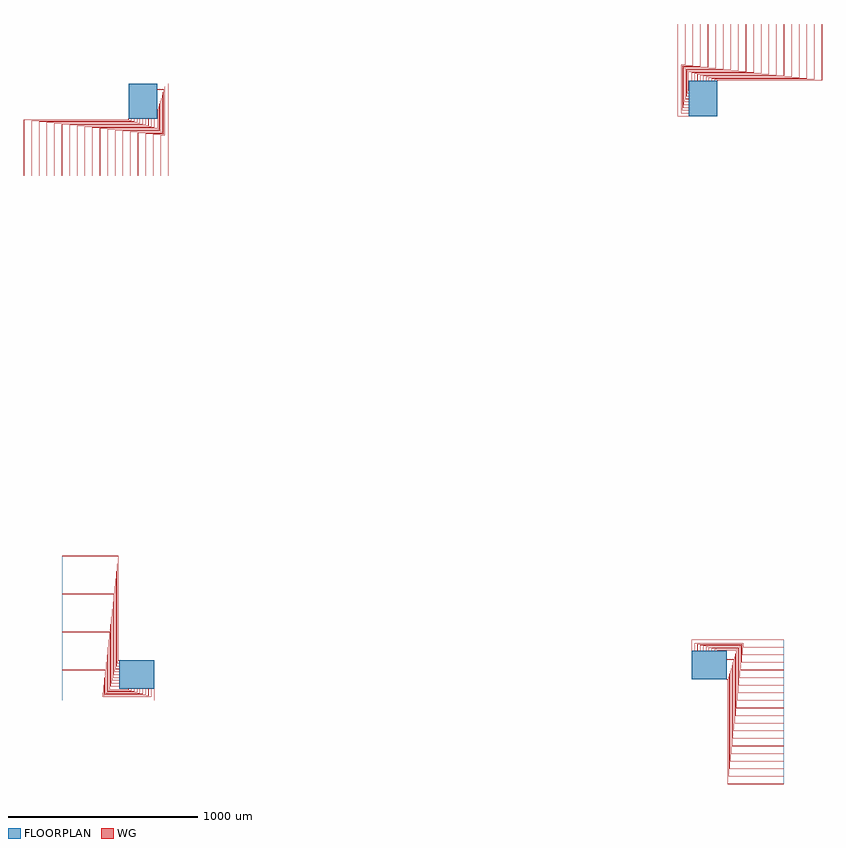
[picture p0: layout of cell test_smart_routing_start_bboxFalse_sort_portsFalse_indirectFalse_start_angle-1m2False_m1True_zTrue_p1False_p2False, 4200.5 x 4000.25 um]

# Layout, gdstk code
import gdstk
lib = gdstk.Library(unit=1e-6, precision=1e-09)
def R(c, l, rs):  # rectangles x0, y0, x1, y1
    for r in rs: c.add(gdstk.rectangle(r[:2], r[2:], *l))
def P(c, l, *ps):  # polygons
    for p in ps: c.add(gdstk.Polygon(p, *l))
WG = (1, 0)
FLOORPLAN = (10, 0)

test_smart_routing_start = lib.new_cell('test_smart_routing_start_bboxFalse_sort_portsFalse_indirectFalse_start_angle-1m2False_m1True_zTrue_p1False_p2False')
P(test_smart_routing_start, WG, [(-104.5,49.75),(-104.5,599.75),(-400,599.75),(-400,600.25),(-104,600.25),(-104,50.25),(-100,50.25),(-100,49.75)],
  [(-109,34.75),(-109,559.75),(-400,559.75),(-400,560.25),(-108.5,560.25),(-108.5,35.25),(-100,35.25),(-100,34.75)],
  [(-113.5,19.75),(-113.5,519.75),(-400,519.75),(-400,520.25),(-113,520.25),(-113,20.25),(-100,20.25),(-100,19.75)],
  [(-118,4.75),(-118,479.75),(-400,479.75),(-400,480.25),(-117.5,480.25),(-117.5,5.25),(-100,5.25),(-100,4.75)],
  [(-122.5,-10.25),(-122.5,439.75),(-400,439.75),(-400,440.25),(-122,440.25),(-122,-9.75),(-100,-9.75),(-100,-10.25)],
  [(-127,-25.25),(-127,399.75),(-400,399.75),(-400,400.25),(-126.5,400.25),(-126.5,-24.75),(-100,-24.75),(-100,-25.25)],
  [(-131.5,-40.25),(-131.5,359.75),(-400,359.75),(-400,360.25),(-131,360.25),(-131,-39.75),(-100,-39.75),(-100,-40.25)],
  [(-136,-55.25),(-136,319.75),(-400,319.75),(-400,320.25),(-135.5,320.25),(-135.5,-54.75),(-100,-54.75),(-100,-55.25)],
  [(-140.5,-70.25),(-140.5,279.75),(-400,279.75),(-400,280.25),(-140,280.25),(-140,-69.75),(-100,-69.75),(-100,-70.25)],
  [(-145,-85.25),(-145,239.75),(-400,239.75),(-400,240.25),(-144.5,240.25),(-144.5,-84.75),(-100,-84.75),(-100,-85.25)],
  [(-149.5,-104.5),(-149.5,199.75),(-400,199.75),(-400,200.25),(-149,200.25),(-149,-104),(-50.25,-104),(-50.25,-100),(-49.75,-100),(-49.75,-104.5)],
  [(-154,-109),(-154,159.75),(-400,159.75),(-400,160.25),(-153.5,160.25),(-153.5,-108.5),(-35.25,-108.5),(-35.25,-100),(-34.75,-100),(-34.75,-109)],
  [(-158.5,-113.5),(-158.5,119.75),(-400,119.75),(-400,120.25),(-158,120.25),(-158,-113),(-20.25,-113),(-20.25,-100),(-19.75,-100),(-19.75,-113.5)],
  [(-163,-118),(-163,79.75),(-400,79.75),(-400,80.25),(-162.5,80.25),(-162.5,-117.5),(-5.25,-117.5),(-5.25,-100),(-4.75,-100),(-4.75,-118)],
  [(-167.5,-122.5),(-167.5,39.75),(-400,39.75),(-400,40.25),(-167,40.25),(-167,-122),(9.75,-122),(9.75,-100),(10.25,-100),(10.25,-122.5)],
  [(-172,-127),(-172,-0.25),(-400,-0.25),(-400,0.25),(-171.5,0.25),(-171.5,-126.5),(24.75,-126.5),(24.75,-100),(25.25,-100),(25.25,-127)],
  [(-176.5,-131.5),(-176.5,-40.25),(-400,-40.25),(-400,-39.75),(-176,-39.75),(-176,-131),(39.75,-131),(39.75,-100),(40.25,-100),(40.25,-131.5)],
  [(-181,-136),(-181,-80.25),(-400,-80.25),(-400,-79.75),(-180.5,-79.75),(-180.5,-135.5),(54.75,-135.5),(54.75,-100),(55.25,-100),(55.25,-136)],
  [(-185.5,-140.5),(-185.5,-120.25),(-400,-120.25),(-400,-119.75),(-185,-119.75),(-185,-140),(69.75,-140),(69.75,-100),(70.25,-100),(70.25,-140.5)],
  [(-400,-160.25),(-400,-159.75),(84.75,-159.75),(84.75,-100),(85.25,-100),(85.25,-160.25)],
  [(-600.25,2600),(-600.25,2896),(-50.25,2896),(-50.25,2900),(-49.75,2900),(-49.75,2895.5),(-599.75,2895.5),(-599.75,2600)],
  [(-560.25,2600),(-560.25,2891.5),(-35.25,2891.5),(-35.25,2900),(-34.75,2900),(-34.75,2891),(-559.75,2891),(-559.75,2600)],
  [(-520.25,2600),(-520.25,2887),(-20.25,2887),(-20.25,2900),(-19.75,2900),(-19.75,2886.5),(-519.75,2886.5),(-519.75,2600)],
  [(-480.25,2600),(-480.25,2882.5),(-5.25,2882.5),(-5.25,2900),(-4.75,2900),(-4.75,2882),(-479.75,2882),(-479.75,2600)],
  [(-440.25,2600),(-440.25,2878),(9.75,2878),(9.75,2900),(10.25,2900),(10.25,2877.5),(-439.75,2877.5),(-439.75,2600)],
  [(-400.25,2600),(-400.25,2873.5),(24.75,2873.5),(24.75,2900),(25.25,2900),(25.25,2873),(-399.75,2873),(-399.75,2600)],
  [(-360.25,2600),(-360.25,2869),(39.75,2869),(39.75,2900),(40.25,2900),(40.25,2868.5),(-359.75,2868.5),(-359.75,2600)],
  [(-320.25,2600),(-320.25,2864.5),(54.75,2864.5),(54.75,2900),(55.25,2900),(55.25,2864),(-319.75,2864),(-319.75,2600)],
  [(-280.25,2600),(-280.25,2860),(69.75,2860),(69.75,2900),(70.25,2900),(70.25,2859.5),(-279.75,2859.5),(-279.75,2600)],
  [(-240.25,2600),(-240.25,2855.5),(84.75,2855.5),(84.75,2900),(85.25,2900),(85.25,2855),(-239.75,2855),(-239.75,2600)],
  [(-200.25,2600),(-200.25,2851),(104,2851),(104,2949.75),(100,2949.75),(100,2950.25),(104.5,2950.25),(104.5,2850.5),(-199.75,2850.5),(-199.75,2600)],
  [(-160.25,2600),(-160.25,2846.5),(108.5,2846.5),(108.5,2964.75),(100,2964.75),(100,2965.25),(109,2965.25),(109,2846),(-159.75,2846),(-159.75,2600)],
  [(-120.25,2600),(-120.25,2842),(113,2842),(113,2979.75),(100,2979.75),(100,2980.25),(113.5,2980.25),(113.5,2841.5),(-119.75,2841.5),(-119.75,2600)],
  [(-80.25,2600),(-80.25,2837.5),(117.5,2837.5),(117.5,2994.75),(100,2994.75),(100,2995.25),(118,2995.25),(118,2837),(-79.75,2837),(-79.75,2600)],
  [(-40.25,2600),(-40.25,2833),(122,2833),(122,3009.75),(100,3009.75),(100,3010.25),(122.5,3010.25),(122.5,2832.5),(-39.75,2832.5),(-39.75,2600)],
  [(-0.25,2600),(-0.25,2828.5),(126.5,2828.5),(126.5,3024.75),(100,3024.75),(100,3025.25),(127,3025.25),(127,2828),(0.25,2828),(0.25,2600)],
  [(39.75,2600),(39.75,2824),(131,2824),(131,3039.75),(100,3039.75),(100,3040.25),(131.5,3040.25),(131.5,2823.5),(40.25,2823.5),(40.25,2600)],
  [(79.75,2600),(79.75,2819.5),(135.5,2819.5),(135.5,3054.75),(100,3054.75),(100,3055.25),(136,3055.25),(136,2819),(80.25,2819),(80.25,2600)],
  [(119.75,2600),(119.75,2815),(140,2815),(140,3069.75),(100,3069.75),(100,3070.25),(140.5,3070.25),(140.5,2814.5),(120.25,2814.5),(120.25,2600)],
  [(159.75,2600),(159.75,3084.75),(100,3084.75),(100,3085.25),(160.25,3085.25),(160.25,2600)],
  [(3104,-600.25),(3104,-50.25),(3100,-50.25),(3100,-49.75),(3104.5,-49.75),(3104.5,-599.75),(3400,-599.75),(3400,-600.25)],
  [(3108.5,-560.25),(3108.5,-35.25),(3100,-35.25),(3100,-34.75),(3109,-34.75),(3109,-559.75),(3400,-559.75),(3400,-560.25)],
  [(3113,-520.25),(3113,-20.25),(3100,-20.25),(3100,-19.75),(3113.5,-19.75),(3113.5,-519.75),(3400,-519.75),(3400,-520.25)],
  [(3117.5,-480.25),(3117.5,-5.25),(3100,-5.25),(3100,-4.75),(3118,-4.75),(3118,-479.75),(3400,-479.75),(3400,-480.25)],
  [(3122,-440.25),(3122,9.75),(3100,9.75),(3100,10.25),(3122.5,10.25),(3122.5,-439.75),(3400,-439.75),(3400,-440.25)],
  [(3126.5,-400.25),(3126.5,24.75),(3100,24.75),(3100,25.25),(3127,25.25),(3127,-399.75),(3400,-399.75),(3400,-400.25)],
  [(3131,-360.25),(3131,39.75),(3100,39.75),(3100,40.25),(3131.5,40.25),(3131.5,-359.75),(3400,-359.75),(3400,-360.25)],
  [(3135.5,-320.25),(3135.5,54.75),(3100,54.75),(3100,55.25),(3136,55.25),(3136,-319.75),(3400,-319.75),(3400,-320.25)],
  [(3140,-280.25),(3140,69.75),(3100,69.75),(3100,70.25),(3140.5,70.25),(3140.5,-279.75),(3400,-279.75),(3400,-280.25)],
  [(3144.5,-240.25),(3144.5,84.75),(3100,84.75),(3100,85.25),(3145,85.25),(3145,-239.75),(3400,-239.75),(3400,-240.25)],
  [(3149,-200.25),(3149,104),(3050.25,104),(3050.25,100),(3049.75,100),(3049.75,104.5),(3149.5,104.5),(3149.5,-199.75),(3400,-199.75),(3400,-200.25)],
  [(3153.5,-160.25),(3153.5,108.5),(3035.25,108.5),(3035.25,100),(3034.75,100),(3034.75,109),(3154,109),(3154,-159.75),(3400,-159.75),(3400,-160.25)],
  [(3158,-120.25),(3158,113),(3020.25,113),(3020.25,100),(3019.75,100),(3019.75,113.5),(3158.5,113.5),(3158.5,-119.75),(3400,-119.75),(3400,-120.25)],
  [(3162.5,-80.25),(3162.5,117.5),(3005.25,117.5),(3005.25,100),(3004.75,100),(3004.75,118),(3163,118),(3163,-79.75),(3400,-79.75),(3400,-80.25)],
  [(3167,-40.25),(3167,122),(2990.25,122),(2990.25,100),(2989.75,100),(2989.75,122.5),(3167.5,122.5),(3167.5,-39.75),(3400,-39.75),(3400,-40.25)],
  [(3171.5,-0.25),(3171.5,126.5),(2975.25,126.5),(2975.25,100),(2974.75,100),(2974.75,127),(3172,127),(3172,0.25),(3400,0.25),(3400,-0.25)],
  [(3176,39.75),(3176,131),(2960.25,131),(2960.25,100),(2959.75,100),(2959.75,131.5),(3176.5,131.5),(3176.5,40.25),(3400,40.25),(3400,39.75)],
  [(3180.5,79.75),(3180.5,135.5),(2945.25,135.5),(2945.25,100),(2944.75,100),(2944.75,136),(3181,136),(3181,80.25),(3400,80.25),(3400,79.75)],
  [(2929.75,100),(2929.75,140.5),(3185.5,140.5),(3185.5,120.25),(3400,120.25),(3400,119.75),(3185,119.75),(3185,140),(2930.25,140),(2930.25,100)],
  [(2914.75,100),(2914.75,160.25),(3400,160.25),(3400,159.75),(2915.25,159.75),(2915.25,100)],
  [(3049.75,3100),(3049.75,3104.5),(3599.75,3104.5),(3599.75,3400),(3600.25,3400),(3600.25,3104),(3050.25,3104),(3050.25,3100)],
  [(3034.75,3100),(3034.75,3109),(3559.75,3109),(3559.75,3400),(3560.25,3400),(3560.25,3108.5),(3035.25,3108.5),(3035.25,3100)],
  [(3019.75,3100),(3019.75,3113.5),(3519.75,3113.5),(3519.75,3400),(3520.25,3400),(3520.25,3113),(3020.25,3113),(3020.25,3100)],
  [(3004.75,3100),(3004.75,3118),(3479.75,3118),(3479.75,3400),(3480.25,3400),(3480.25,3117.5),(3005.25,3117.5),(3005.25,3100)],
  [(2989.75,3100),(2989.75,3122.5),(3439.75,3122.5),(3439.75,3400),(3440.25,3400),(3440.25,3122),(2990.25,3122),(2990.25,3100)],
  [(2974.75,3100),(2974.75,3127),(3399.75,3127),(3399.75,3400),(3400.25,3400),(3400.25,3126.5),(2975.25,3126.5),(2975.25,3100)],
  [(2959.75,3100),(2959.75,3131.5),(3359.75,3131.5),(3359.75,3400),(3360.25,3400),(3360.25,3131),(2960.25,3131),(2960.25,3100)],
  [(2944.75,3100),(2944.75,3136),(3319.75,3136),(3319.75,3400),(3320.25,3400),(3320.25,3135.5),(2945.25,3135.5),(2945.25,3100)],
  [(2929.75,3100),(2929.75,3140.5),(3279.75,3140.5),(3279.75,3400),(3280.25,3400),(3280.25,3140),(2930.25,3140),(2930.25,3100)],
  [(2914.75,3100),(2914.75,3145),(3239.75,3145),(3239.75,3400),(3240.25,3400),(3240.25,3144.5),(2915.25,3144.5),(2915.25,3100)],
  [(2895.5,3049.75),(2895.5,3149.5),(3199.75,3149.5),(3199.75,3400),(3200.25,3400),(3200.25,3149),(2896,3149),(2896,3050.25),(2900,3050.25),(2900,3049.75)],
  [(2891,3034.75),(2891,3154),(3159.75,3154),(3159.75,3400),(3160.25,3400),(3160.25,3153.5),(2891.5,3153.5),(2891.5,3035.25),(2900,3035.25),(2900,3034.75)],
  [(2886.5,3019.75),(2886.5,3158.5),(3119.75,3158.5),(3119.75,3400),(3120.25,3400),(3120.25,3158),(2887,3158),(2887,3020.25),(2900,3020.25),(2900,3019.75)],
  [(2882,3004.75),(2882,3163),(3079.75,3163),(3079.75,3400),(3080.25,3400),(3080.25,3162.5),(2882.5,3162.5),(2882.5,3005.25),(2900,3005.25),(2900,3004.75)],
  [(2877.5,2989.75),(2877.5,3167.5),(3039.75,3167.5),(3039.75,3400),(3040.25,3400),(3040.25,3167),(2878,3167),(2878,2990.25),(2900,2990.25),(2900,2989.75)],
  [(2873,2974.75),(2873,3172),(2999.75,3172),(2999.75,3400),(3000.25,3400),(3000.25,3171.5),(2873.5,3171.5),(2873.5,2975.25),(2900,2975.25),(2900,2974.75)],
  [(2868.5,2959.75),(2868.5,3176.5),(2959.75,3176.5),(2959.75,3400),(2960.25,3400),(2960.25,3176),(2869,3176),(2869,2960.25),(2900,2960.25),(2900,2959.75)],
  [(2864,2944.75),(2864,3181),(2919.75,3181),(2919.75,3400),(2920.25,3400),(2920.25,3180.5),(2864.5,3180.5),(2864.5,2945.25),(2900,2945.25),(2900,2944.75)],
  [(2859.5,2929.75),(2859.5,3185.5),(2879.75,3185.5),(2879.75,3400),(2880.25,3400),(2880.25,3185),(2860,3185),(2860,2930.25),(2900,2930.25),(2900,2929.75)],
  [(2839.75,2914.75),(2839.75,3400),(2840.25,3400),(2840.25,2915.25),(2900,2915.25),(2900,2914.75)])
R(test_smart_routing_start, FLOORPLAN, [(-100,-100,85,50), (2915,-50,3100,100), (-50,2900,100,3085), (2900,2915,3050,3100)])
P(test_smart_routing_start, FLOORPLAN, [(-400,-160),(-400,600),(-400,600),(-400,-160)],
  [(-600,2600),(-600,2600),(160,2600),(160,2600)],
  [(3400,-600),(3400,160),(3400,160),(3400,-600)],
  [(2840,3400),(2840,3400),(3600,3400),(3600,3400)])

lib.write_gds('test_smart_routing_start_bboxFalse_sort_portsFalse_indirectFalse_start_angle-1m2False_m1True_zTrue_p1False_p2False.gds')
